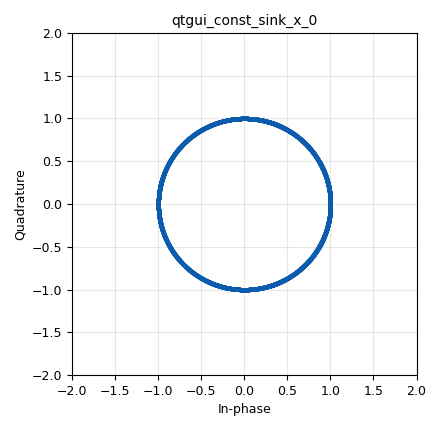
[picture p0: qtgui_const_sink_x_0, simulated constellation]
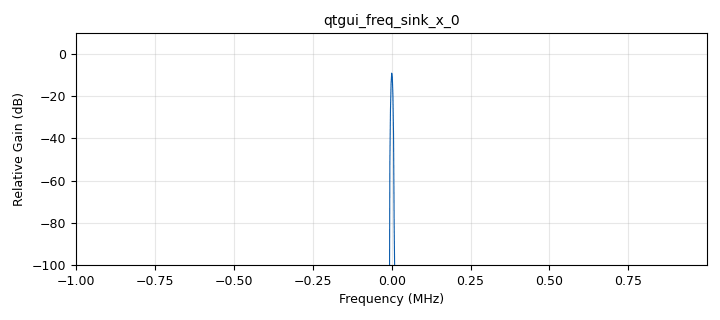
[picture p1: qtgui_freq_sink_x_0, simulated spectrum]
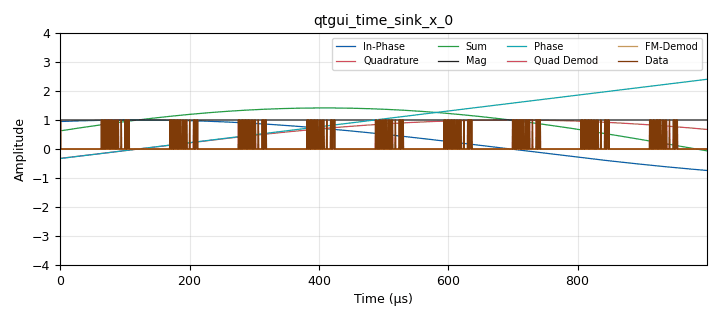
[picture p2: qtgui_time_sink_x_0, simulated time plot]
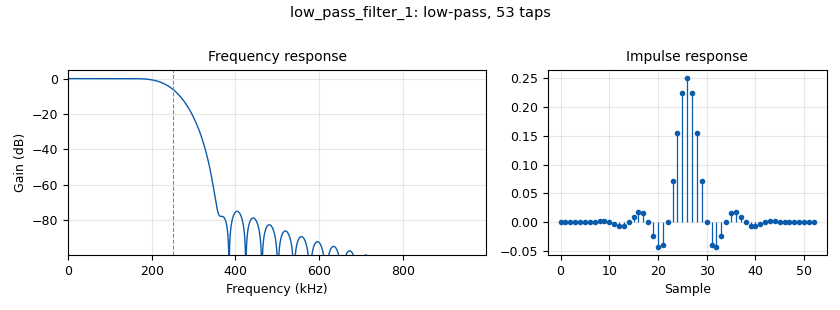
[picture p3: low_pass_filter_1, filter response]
<?xml version='1.0' encoding='utf-8'?>
<?grc format='1' created='3.7.11'?>
<flow_graph>
<block>
<key>options</key>
<param><key>id</key><value>top_block</value></param>
<param><key>generate_options</key><value>qt_gui</value></param>
</block>
<block>
<key>variable_qtgui_range</key>
<param><key>id</key><value>cutoff</value></param>
<param><key>value</key><value>250e3</value></param>
<param><key>orient</key><value>Qt.Horizontal</value></param>
<param><key>start</key><value>5000</value></param>
<param><key>step</key><value>1e4</value></param>
<param><key>stop</key><value>1e6</value></param>
</block>
<block>
<key>variable</key>
<param><key>id</key><value>samp_rate</value></param>
<param><key>value</key><value>2000000</value></param>
</block>
<block>
<key>analog_const_source_x</key>
<param><key>id</key><value>analog_const_source_x_0</value></param>
<param><key>const</key><value>25000</value></param>
<param><key>_enabled</key><value>0</value></param>
<param><key>type</key><value>float</value></param>
</block>
<block>
<key>analog_const_source_x</key>
<param><key>id</key><value>analog_const_source_x_1</value></param>
<param><key>const</key><value>1000</value></param>
<param><key>_enabled</key><value>0</value></param>
<param><key>type</key><value>float</value></param>
</block>
<block>
<key>analog_fm_demod_cf</key>
<param><key>id</key><value>analog_fm_demod_cf_0</value></param>
<param><key>audio_decim</key><value>1</value></param>
<param><key>audio_pass</key><value>15000</value></param>
<param><key>audio_stop</key><value>16000</value></param>
<param><key>chan_rate</key><value>38400</value></param>
<param><key>deviation</key><value>75000</value></param>
<param><key>gain</key><value>1.0</value></param>
<param><key>tau</key><value>75e-6</value></param>
</block>
<block>
<key>analog_quadrature_demod_cf</key>
<param><key>id</key><value>analog_quadrature_demod_cf_0</value></param>
<param><key>gain</key><value>1</value></param>
</block>
<block>
<key>analog_sig_source_x</key>
<param><key>id</key><value>analog_sig_source_x_0</value></param>
<param><key>amp</key><value>1</value></param>
<param><key>freq</key><value>868e6/samp_rate</value></param>
<param><key>offset</key><value>0</value></param>
<param><key>type</key><value>float</value></param>
<param><key>samp_rate</key><value>samp_rate</value></param>
<param><key>waveform</key><value>analog.GR_COS_WAVE</value></param>
</block>
<block>
<key>analog_sig_source_x</key>
<param><key>id</key><value>analog_sig_source_x_0_0</value></param>
<param><key>amp</key><value>1</value></param>
<param><key>freq</key><value>868e6/samp_rate</value></param>
<param><key>offset</key><value>0</value></param>
<param><key>type</key><value>float</value></param>
<param><key>samp_rate</key><value>samp_rate</value></param>
<param><key>waveform</key><value>analog.GR_SIN_WAVE</value></param>
</block>
<block>
<key>blocks_add_xx</key>
<param><key>id</key><value>blocks_add_xx_0</value></param>
<param><key>type</key><value>float</value></param>
</block>
<block>
<key>blocks_complex_to_float</key>
<param><key>id</key><value>blocks_complex_to_float_0</value></param>
</block>
<block>
<key>blocks_complex_to_magphase</key>
<param><key>id</key><value>blocks_complex_to_magphase_0</value></param>
</block>
<block>
<key>blocks_float_to_complex</key>
<param><key>id</key><value>blocks_float_to_complex_0</value></param>
</block>
<block>
<key>blocks_multiply_xx</key>
<param><key>id</key><value>blocks_multiply_xx_0</value></param>
<param><key>_enabled</key><value>0</value></param>
<param><key>type</key><value>float</value></param>
</block>
<block>
<key>blocks_throttle</key>
<param><key>id</key><value>blocks_throttle_0</value></param>
<param><key>samples_per_second</key><value>samp_rate</value></param>
<param><key>type</key><value>complex</value></param>
</block>
<block>
<key>blocks_vector_source_x</key>
<param><key>id</key><value>blocks_vector_source_x_0</value></param>
<param><key>type</key><value>float</value></param>
<param><key>repeat</key><value>True</value></param>
<param><key>vector</key><value>(0,0,0,0,0,0,0,0,0,0,0,0,0,0,0,0,0,0,0,0,0,0,0,0,0,0,0,0,0,0,0,0,0,0,0,0,0,0,0,0,0,0,0,0,0,0,0,0,0,0,0,0,0,0,0,0,0,0,0,0,0,0,1,0,1,1,0,1,0,0,0,0,1,0,1,0,1,1,1,0,0,0,1,1,1,0,1,0,0,1,0,0,1,1,0,1,1,0,0,0,0,1,1,0,0,1,0,0,0,0,1,0,0,1,1,1,0,0,0,0,0,0,0,1,1,0,0,0,0,0,0,0,0,0,0,1,1,0,1,0,1,0,0,1,1,1,1,0,1,0,0,0,0,0,0,0,0,0,0,0,0,0,0,0,0,0,0,0,0,0,0,0,0,0,0,0,0,0,0,0,0,0,0,0,0,0,0,0,0,0,0,0,0,0,0,0,0,0,0,0,0,0,0,0,0,0,0,0,0,0,0,0)</value></param>
</block>
<block>
<key>low_pass_filter</key>
<param><key>id</key><value>low_pass_filter_1</value></param>
<param><key>cutoff_freq</key><value>cutoff</value></param>
<param><key>decim</key><value>1</value></param>
<param><key>type</key><value>fir_filter_ccf</value></param>
<param><key>gain</key><value>1</value></param>
<param><key>samp_rate</key><value>samp_rate</value></param>
<param><key>width</key><value>cutoff/2</value></param>
<param><key>win</key><value>firdes.WIN_BLACKMAN</value></param>
</block>
<block>
<key>qtgui_const_sink_x</key>
<param><key>id</key><value>qtgui_const_sink_x_0</value></param>
<param><key>grid</key><value>True</value></param>
<param><key>alpha1</key><value>.01</value></param>
<param><key>size</key><value>20*1024</value></param>
<param><key>tr_level</key><value>0.2</value></param>
<param><key>tr_mode</key><value>qtgui.TRIG_MODE_NORM</value></param>
<param><key>tr_tag</key><value>"squelch_sob"</value></param>
<param><key>type</key><value>complex</value></param>
</block>
<block>
<key>qtgui_freq_sink_x</key>
<param><key>id</key><value>qtgui_freq_sink_x_0</value></param>
<param><key>bw</key><value>samp_rate</value></param>
<param><key>fc</key><value>0</value></param>
<param><key>fftsize</key><value>1024</value></param>
<param><key>width1</key><value>3</value></param>
<param><key>showports</key><value>True</value></param>
<param><key>tr_level</key><value>-40.0</value></param>
<param><key>tr_mode</key><value>qtgui.TRIG_MODE_NORM</value></param>
<param><key>tr_tag</key><value>"squelch_sob"</value></param>
<param><key>type</key><value>complex</value></param>
<param><key>wintype</key><value>firdes.WIN_BLACKMAN_hARRIS</value></param>
<param><key>ymin</key><value>-100</value></param>
</block>
<block>
<key>qtgui_time_sink_x</key>
<param><key>id</key><value>qtgui_time_sink_x_0</value></param>
<param><key>ctrlpanel</key><value>True</value></param>
<param><key>grid</key><value>True</value></param>
<param><key>color1</key><value>"blue"</value></param>
<param><key>label1</key><value>In-Phase</value></param>
<param><key>color2</key><value>"red"</value></param>
<param><key>label2</key><value>Quadrature</value></param>
<param><key>color3</key><value>"green"</value></param>
<param><key>label3</key><value>Sum</value></param>
<param><key>color4</key><value>"black"</value></param>
<param><key>label4</key><value>Mag</value></param>
<param><key>color5</key><value>"dark red"</value></param>
<param><key>label5</key><value>Phase</value></param>
<param><key>color6</key><value>"magenta"</value></param>
<param><key>label6</key><value>Quad Demod</value></param>
<param><key>color7</key><value>"Dark Blue"</value></param>
<param><key>label7</key><value>FM-Demod</value></param>
<param><key>color8</key><value>"dark red"</value></param>
<param><key>label8</key><value>Data</value></param>
<param><key>nconnections</key><value>8</value></param>
<param><key>size</key><value>int(samp_rate/1000)</value></param>
<param><key>srate</key><value>samp_rate</value></param>
<param><key>tr_chan</key><value>7</value></param>
<param><key>tr_level</key><value>0.2</value></param>
<param><key>tr_mode</key><value>qtgui.TRIG_MODE_NORM</value></param>
<param><key>tr_tag</key><value>"squelch_sob"</value></param>
<param><key>type</key><value>float</value></param>
<param><key>update_time</key><value>0.02</value></param>
<param><key>ymax</key><value>4</value></param>
<param><key>ymin</key><value>-4</value></param>
</block>
<connection><source_block_id>analog_const_source_x_1</source_block_id><sink_block_id>blocks_multiply_xx_0</sink_block_id><source_key>0</source_key><sink_key>0</sink_key></connection>
<connection><source_block_id>analog_fm_demod_cf_0</source_block_id><sink_block_id>qtgui_time_sink_x_0</sink_block_id><source_key>0</source_key><sink_key>6</sink_key></connection>
<connection><source_block_id>analog_quadrature_demod_cf_0</source_block_id><sink_block_id>qtgui_time_sink_x_0</sink_block_id><source_key>0</source_key><sink_key>5</sink_key></connection>
<connection><source_block_id>analog_sig_source_x_0</source_block_id><sink_block_id>blocks_float_to_complex_0</sink_block_id><source_key>0</source_key><sink_key>0</sink_key></connection>
<connection><source_block_id>analog_sig_source_x_0_0</source_block_id><sink_block_id>blocks_float_to_complex_0</sink_block_id><source_key>0</source_key><sink_key>1</sink_key></connection>
<connection><source_block_id>blocks_add_xx_0</source_block_id><sink_block_id>qtgui_time_sink_x_0</sink_block_id><source_key>0</source_key><sink_key>2</sink_key></connection>
<connection><source_block_id>blocks_complex_to_float_0</source_block_id><sink_block_id>blocks_add_xx_0</sink_block_id><source_key>1</source_key><sink_key>1</sink_key></connection>
<connection><source_block_id>blocks_complex_to_float_0</source_block_id><sink_block_id>qtgui_time_sink_x_0</sink_block_id><source_key>1</source_key><sink_key>1</sink_key></connection>
<connection><source_block_id>blocks_complex_to_float_0</source_block_id><sink_block_id>blocks_add_xx_0</sink_block_id><source_key>0</source_key><sink_key>0</sink_key></connection>
<connection><source_block_id>blocks_complex_to_float_0</source_block_id><sink_block_id>qtgui_time_sink_x_0</sink_block_id><source_key>0</source_key><sink_key>0</sink_key></connection>
<connection><source_block_id>blocks_complex_to_magphase_0</source_block_id><sink_block_id>qtgui_time_sink_x_0</sink_block_id><source_key>0</source_key><sink_key>3</sink_key></connection>
<connection><source_block_id>blocks_complex_to_magphase_0</source_block_id><sink_block_id>qtgui_time_sink_x_0</sink_block_id><source_key>1</source_key><sink_key>4</sink_key></connection>
<connection><source_block_id>blocks_float_to_complex_0</source_block_id><sink_block_id>blocks_throttle_0</sink_block_id><source_key>0</source_key><sink_key>0</sink_key></connection>
<connection><source_block_id>blocks_throttle_0</source_block_id><sink_block_id>low_pass_filter_1</sink_block_id><source_key>0</source_key><sink_key>0</sink_key></connection>
<connection><source_block_id>blocks_vector_source_x_0</source_block_id><sink_block_id>blocks_multiply_xx_0</sink_block_id><source_key>0</source_key><sink_key>1</sink_key></connection>
<connection><source_block_id>blocks_vector_source_x_0</source_block_id><sink_block_id>qtgui_time_sink_x_0</sink_block_id><source_key>0</source_key><sink_key>7</sink_key></connection>
<connection><source_block_id>low_pass_filter_1</source_block_id><sink_block_id>analog_fm_demod_cf_0</sink_block_id><source_key>0</source_key><sink_key>0</sink_key></connection>
<connection><source_block_id>low_pass_filter_1</source_block_id><sink_block_id>analog_quadrature_demod_cf_0</sink_block_id><source_key>0</source_key><sink_key>0</sink_key></connection>
<connection><source_block_id>low_pass_filter_1</source_block_id><sink_block_id>blocks_complex_to_float_0</sink_block_id><source_key>0</source_key><sink_key>0</sink_key></connection>
<connection><source_block_id>low_pass_filter_1</source_block_id><sink_block_id>blocks_complex_to_magphase_0</sink_block_id><source_key>0</source_key><sink_key>0</sink_key></connection>
<connection><source_block_id>low_pass_filter_1</source_block_id><sink_block_id>qtgui_const_sink_x_0</sink_block_id><source_key>0</source_key><sink_key>0</sink_key></connection>
<connection><source_block_id>low_pass_filter_1</source_block_id><sink_block_id>qtgui_freq_sink_x_0</sink_block_id><source_key>0</source_key><sink_key>0</sink_key></connection>
</flow_graph>
